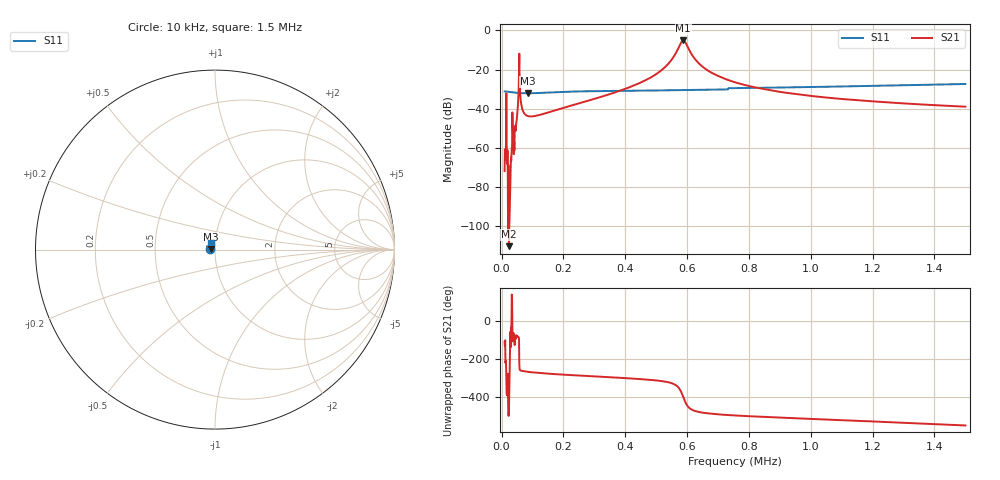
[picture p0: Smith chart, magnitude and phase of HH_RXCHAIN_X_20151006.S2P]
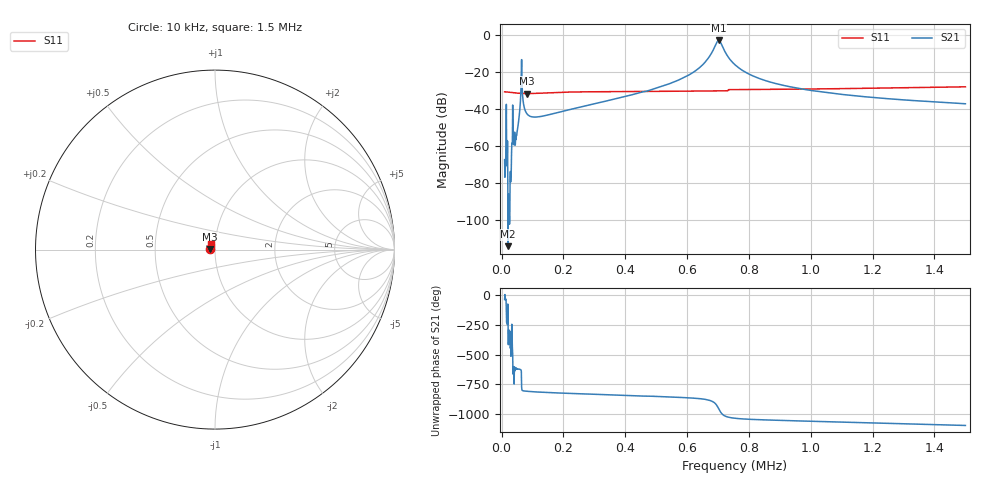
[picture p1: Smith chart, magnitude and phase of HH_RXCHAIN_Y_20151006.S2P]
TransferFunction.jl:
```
import Base.getindex

using Interpolations, HDF5

export list_tf, tf_receive_chain, plot_tf

mutable struct TransferFunction
  freq::Vector{Float64}
  data::Matrix{ComplexF64}
  interp::Vector{Any}
  inductionFactor::Vector{Float64}

  function TransferFunction(freq_, datain::Array{T}, inductionFactor=ones(size(datain,2))) where {T<:Complex}
    freq = freq_[1]:(freq_[2]-freq_[1]):freq_[end]
    data=reshape(deepcopy(datain),size(datain,1), size(datain,2))
    interp = Any[]
    for d=1:size(datain,2)
      I = interpolate((freq_,), data[:,d], Gridded(Linear()))
      push!(interp,I)
    end
    return new(freq_, data, interp, inductionFactor)
  end

end

function TransferFunction(freq_, ampdata, phasedata, args...)
  data = ampdata.*exp.(im.*phasedata)
  return TransferFunction(freq_, data, args...)
end

function getindex(tmf::TransferFunction, x::Real, chan::Integer=1)
  a = tmf.interp[chan](x)
  return a
end


function getindex(tmf::TransferFunction, X::Union{Vector,AbstractRange},chan::Integer=1)
  return [tmf[x] for x in X]
end

function load_tf(filename::String)
  tf = h5read(filename,"/transferFunction")
  tf = copy(reshape(reinterpret(Complex{eltype(tf)}, tf), (size(tf,2),size(tf,3))))
  freq = h5read(filename,"/frequencies")
  inductionFactor = h5read(filename,"/inductionFactor")
  return TransferFunction(freq,tf,inductionFactor)
end

function combine(tf1,tf2)
  freq = tf1.freq
  data = cat(tf1.data,tf2.data, dims=2)
  inductionFactor = cat(tf1.inductionFactor, tf2.inductionFactor, dims=1)
  return TransferFunction(freq, data, inductionFactor)
end

function save_tf(tf::TransferFunction, filename::String)
  tfR = reinterpret(Float64, tf.data, (2, size(tf.data)...))
  h5write(filename, "/transferFunction", tfR)
  h5write(filename, "/frequencies", tf.freq)
  h5write(filename, "/inductionFactor", tf.inductionFactor)
  return nothing
end

function load_tf_fromMatthias(filenameAmp::String, filenamePh::String)
  data = readdlm(filenameAmp, ',')
  ph = readdlm(filenamePh, ',')
  freq = data[4:end,1]
  amp = 10 .^ (data[4:end,2] ./ 20)
  phase = [ deg2rad(p) for p in ph[4:end,2] ]
  tf = TransferFunction(freq,amp,phase)
  tf.data[:] .*= (freq .* 2*pi*im)
  tf.data[1] = 1
  return TransferFunction(freq, tf.data)
end

# The following is only required if a transformater was used to convert the
# differential signal into a regular signal
function correct_Transformator(tf::TransferFunction,trafo::TransferFunction)
  tf.data[:]./=trafo.data[:]
  #tf.data[:] ./= (tf.freq.*2*pi*im)
  #tf.data[1] = 1
  return TransferFunction(tf.freq, tf.data)
end

function load_tf_fromUlrich(filename::String)
  Uin = 0.0707 #V
  Rin = 50.0 #Ω
  Pin = -10.0 #DBm
  aρdata = Float64[]
  aϕdata = Float64[]
  freq = Float64[]

  file = open(filename)
  lines = readlines(file)
  for i=6:length(lines)
    tmp = split(lines[i],"\t")
    Pout = 10.0^((Pin+parse(Float64,tmp[4]))/10.0)
    f = parse(Float64,tmp[1])
    aρ = 1.0 / (Uin/sqrt(Rin*Pout))
    aϕ = pi*2*parse(Float64,tmp[5])/ 180 #360
    push!(aρdata, aρ)
    push!(aϕdata, aϕ)
    push!(freq, f)
  end
  close(file)

  return TransferFunction(freq, aρdata, aϕdata)
end

function load_tf_fromVNA(filename::String)
  R = 50.0 #Ω
  N=10 #5# Turns
  A=7.4894*10.0^-4 #m^2 #1.3e-3^2*pi;
  file = open(filename)
  lines = readlines(file)
  apdata = Float64[]
  aϕdata = Float64[]
  freq = Float64[]
  for i=4:length(lines)
      tmp = split(strip(lines[i])," ")
      tmp=tmp[tmp.!=""]
      f = parse(Float64,strip(tmp[1]))
      if occursin(lines[3],"# kHz S MA R 50")
          ap = parse(Float64,strip(tmp[2]))
          aphi = parse(Float64,strip(tmp[3]))
          f=f*1000
       elseif occursin(lines[3],"# Hz S DB R 50") 
            ap = 10^(parse(Float64,strip(tmp[2]))/20)
            aphi = parse(Float64,strip(tmp[3]))*pi/180
            f=f
       elseif occursin(lines[3],"# kHz S DB R 50")
            ap = 10^(parse(Float64,strip(tmp[2]))/20)
            aphi = parse(Float64,strip(tmp[3]))*pi/180
            f=f*1000
        elseif occursin(lines[3],"# MHz S DB R 50")
            ap = 10^(parse(Float64,strip(tmp[2]))/20)
            aphi = parse(Float64,strip(tmp[3]))*pi/180
            f=f*1000000
      elseif occursin(lines[3],"# kHz S RI R 50")
          tf_complex=parse(Float64,strip(tmp[2]))+im*parse(Float64,strip(tmp[3]))
          ap=abs.(tf_complex);
          aphi=angle(tf_complex)
          f=f*1000
      else
	      error("Wrong data Format! Please export in kHz domain S21 parameter with either Magnitude/Phase, DB/Phase or Real/Imaginary!")
      end
      push!(apdata, ap)
      push!(aϕdata, aphi)
      push!(freq, f)
  end
  close(file)
  #apdata .*= (freq.*2*pi)
  #apdata[1] = 1
  return TransferFunction(freq, apdata, aϕdata)
end

function _convertTFFuncs()
  prefix = @__DIR__

  a = load_tf_fromUlrich(prefix*"/measurements/HH_RXCHAIN_X_20151006.S2P")
  b = load_tf_fromUlrich(prefix*"/measurements/HH_RXCHAIN_Y_20151006.S2P")
  c = load_tf_fromUlrich(prefix*"/measurements/HH_RXCHAIN_Z_20151006.S2P")
  d = combine(combine(a,b),c)
  save_tf(d,prefix*"/tfdata/PreinstalledUH.h5")

  t = load_tf_fromMatthias(prefix*"/measurements/MAGTRAFO50OHM.CSV", prefix*"/measurements/PHASETRAFO50OHM.CSV")
  t1M = load_tf_fromMatthias(prefix*"/measurements/MAGTRAFO1MEGOHM.CSV", prefix*"/measurements/PHASETRAFO1MEGOHM.CSV")

  a = load_tf_fromMatthias(prefix*"/measurements/XMAG.CSV", prefix*"/measurements/XPH.CSV")
  a =  correct_Transformator(a,t1M)
  b = load_tf_fromMatthias(prefix*"/measurements/YMAG.CSV", prefix*"/measurements/YPH.CSV")
  b =  correct_Transformator(b,t1M)
  c = load_tf_fromMatthias(prefix*"/measurements/ZMAG.CSV", prefix*"/measurements/ZPH.CSV")
  c =  correct_Transformator(c,t1M)
  e = combine(combine(a,b),c)
  save_tf(e,prefix*"/tfdata/PreinstalledMG.h5")

  d = load_tf_fromMatthias(prefix*"/measurements/GMAG.CSV", prefix*"/measurements/GGPPH.CSV")
  d =  correct_Transformator(d,t1M)
  f = combine(combine(a,d),c)
  save_tf(e,prefix*"/tfdata/Gradio1.h5")

  a = load_tf_fromVNA(prefix*"/measurements/MPS1.s1p")
  save_tf(a,prefix*"/tfdata/MPS1.h5")
end


function tf_receive_chain(id::String)

  path = joinpath(@__DIR__,"tfdata",id*".h5")

  tf = load_tf(path)
  return tf
end



function tf_receive_chain(b::BrukerFile,id="PreinstalledUH")

  tf = tf_receive_chain(id)
  freq = frequencies(b)
  rxchain = ComplexF64[]
  append!(rxchain, tf[freq,1])
  append!(rxchain, tf[freq,2])
  append!(rxchain, tf[freq,3])
  rxchain = reshape(rxchain, length(freq),3)
  return rxchain
end


function list_tf()
  list = readdir(joinpath(@__DIR__, "tfdata"))
  stripped_list = [ splitext(a)[1] for a in list ]
  return stripped_list
end



function plot_tf(tf::TransferFunction; fignum=312, filename=nothing)
  freq = linspace(tf.freq[1],tf.freq[end],1000)

  figure(fignum)
  clf
  subplot(2,1,1)
  semilogy(freq./1000, abs.(tf[freq]),lw=2,"r")
  #xlabel("frequency / kHz")
  ylabel("amplitude / a.u.")

  subplot(2,1,2)
  plot(freq./1000, angle.(tf[freq]),lw=2,"b")
  xlabel("frequency / kHz")
  ylabel("phase / rad")

  if filename != nothing
    savefig(filename)
  end
end
```
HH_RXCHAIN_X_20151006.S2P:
!Agilent Technologies,E5061B,MY49203226,A.02.09
!Date: Wed Oct 07 10:24:42 2015
!Data & Calibration Information:
!Freq	S11:RESPS(ON)	S21:RESPT(ON)	S12:NONE(--)	S22:NONE(--)
# Hz S dB R 50
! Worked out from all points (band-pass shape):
!   1600 points, 10 kHz to 1.5 MHz, reference 50 ohm
!   highest |S21| = -5.10 dB at 587.7 kHz (marker M1); lowest = -110.1 dB at 23.98 kHz (marker M2)
!   |S21| within 3 dB of the highest: 574.7 kHz to 601 kHz (26.34 kHz wide, 4.48 % of centre)
!   lowest |S11| = -32.1 dB at 85.48 kHz (marker M3), VSWR 1.05, Z = 47.6 + j0.174 ohm
!   |S11| at or under -10 dB: start of sweep to end of sweep
!   S12 and S22 are empty: the file has one direction only
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10000  -31.10 178.5  -71.81 -110.5  -200.00 0.0  -200.00 0.0
23977.49  -31.33 176.3  -110.10 -116.1  -200.00 0.0  -200.00 0.0
56591.62  -31.93 174.9  -21.60 -92.1  -200.00 0.0  -200.00 0.0
85478.42  -32.08 175.8  -43.68 91.7  -200.00 0.0  -200.00 0.0
454484.1  -30.71 157.4  -26.25 52.5  -200.00 0.0  -200.00 0.0
564440.3  -30.48 151.9  -11.35 19.9  -200.00 0.0  -200.00 0.0
587736.1  -30.44 150.7  -5.10 -42.7  -200.00 0.0  -200.00 0.0
613827.4  -30.38 149.5  -11.90 -107.6  -200.00 0.0  -200.00 0.0
666010  -30.25 147.3  -20.34 -128.4  -200.00 0.0  -200.00 0.0
755465.9  -29.43 144.6  -26.47 -140.0  -200.00 0.0  -200.00 0.0
1500000  -27.32 123.4  -38.90 167.1  -200.00 0.0  -200.00 0.0
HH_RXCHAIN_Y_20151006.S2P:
!Agilent Technologies,E5061B,MY49203226,A.02.09
!Date: Wed Oct 07 10:27:53 2015
!Data & Calibration Information:
!Freq	S11:RESPS(ON)	S21:RESPT(ON)	S12:NONE(--)	S22:NONE(--)
# Hz S dB R 50
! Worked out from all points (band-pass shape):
!   1600 points, 10 kHz to 1.5 MHz, reference 50 ohm
!   highest |S21| = -2.92 dB at 702.4 kHz (marker M1); lowest = -113.9 dB at 21.18 kHz (marker M2)
!   |S21| within 3 dB of the highest: 690.6 kHz to 713.8 kHz (23.23 kHz wide, 3.31 % of centre)
!   lowest |S11| = -31.6 dB at 81.75 kHz (marker M3), VSWR 1.05, Z = 47.4 + j0.155 ohm
!   |S11| at or under -10 dB: start of sweep to end of sweep
!   S12 and S22 are empty: the file has one direction only
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10000  -30.62 178.7  -67.21 -39.4  -200.00 0.0  -200.00 0.0
21181.99  -30.78 177.0  -113.86 102.9  -200.00 0.0  -200.00 0.0
27704.82  -30.91 176.2  -78.47 54.6  -200.00 0.0  -200.00 0.0
64046.28  -31.48 175.8  -20.22 81.0  -200.00 0.0  -200.00 0.0
81751.09  -31.55 176.5  -42.36 -87.0  -200.00 0.0  -200.00 0.0
543008.1  -30.32 157.1  -26.25 -134.3  -200.00 0.0  -200.00 0.0
676260.2  -30.15 151.7  -10.55 -166.0  -200.00 0.0  -200.00 0.0
702351.5  -30.11 150.7  -2.92 126.3  -200.00 0.0  -200.00 0.0
755465.9  -29.43 149.2  -16.10 47.3  -200.00 0.0  -200.00 0.0
970719.2  -29.15 141.8  -29.06 24.5  -200.00 0.0  -200.00 0.0
1500000  -27.93 128.2  -37.06 -12.7  -200.00 0.0  -200.00 0.0
